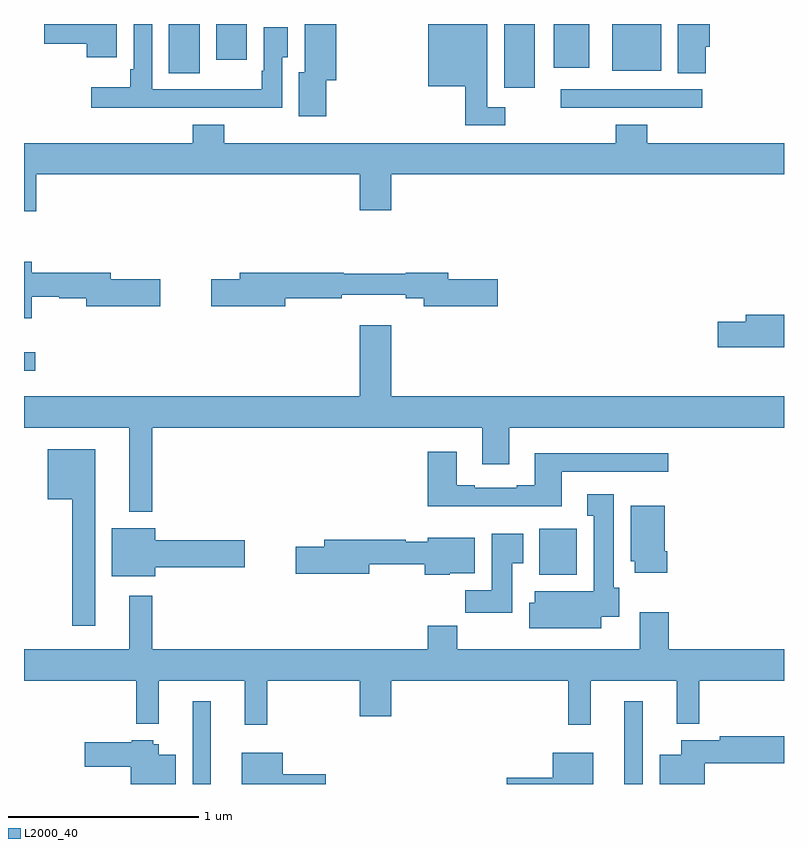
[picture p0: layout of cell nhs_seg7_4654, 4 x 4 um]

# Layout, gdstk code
import gdstk
lib = gdstk.Library(unit=1e-6, precision=1e-09)
def R(c, l, rs):  # rectangles x0, y0, x1, y1
    for r in rs: c.add(gdstk.rectangle(r[:2], r[2:], *l))
def P(c, l, *ps):  # polygons
    for p in ps: c.add(gdstk.Polygon(p, *l))
L2000_40 = (2000, 40)

nhs_seg7_4654 = lib.new_cell('nhs_seg7_4654')
R(nhs_seg7_4654, L2000_40, [(403.887,1072,403.984,1072.435), (406.16,1072,406.257,1072.435), (405.713,1073.102,405.91,1073.344), (403,1074.176,403.06,1074.273), (405.825,1075.56,406.57,1075.656), (405.527,1075.665,405.688,1076), (403.763,1075.741,403.924,1076), (406.097,1075.754,406.354,1076), (405.788,1075.769,405.976,1076), (404.012,1075.811,404.173,1076)])
P(nhs_seg7_4654, L2000_40, [(403.771,1075.56),(404.137,1075.56),(404.137,1075.559),(404.358,1075.559),(404.358,1075.825),(404.389,1075.825),(404.389,1075.984),(404.262,1075.984),(404.262,1075.753),(404.25,1075.753),(404.25,1075.657),(404.02,1075.657),(404.02,1075.656),(403.674,1075.656),(403.674,1076),(403.578,1076),(403.578,1075.762),(403.558,1075.762),(403.558,1075.666),(403.353,1075.666),(403.353,1075.559),(403.771,1075.559)],
  [(404.591,1075.703),(404.643,1075.703),(404.643,1076),(404.477,1076),(404.477,1075.747),(404.447,1075.747),(404.447,1075.515),(404.591,1075.515)],
  [(405.532,1075.563),(405.439,1075.563),(405.439,1075.913),(405.438,1075.913),(405.438,1076),(405.128,1076),(405.128,1075.673),(405.322,1075.673),(405.322,1075.467),(405.532,1075.467)],
  [(403.489,1076),(403.106,1076),(403.106,1075.895),(403.331,1075.895),(403.331,1075.824),(403.489,1075.824)],
  [(406.589,1075.881),(406.61,1075.881),(406.61,1076),(406.442,1076),(406.442,1075.741),(406.589,1075.741)],
  [(403.064,1075.208),(404.768,1075.208),(404.768,1075.02),(404.932,1075.02),(404.932,1075.208),(407,1075.208),(407,1075.372),(406.28,1075.372),(406.28,1075.471),(406.115,1075.471),(406.115,1075.372),(404.054,1075.372),(404.054,1075.471),(403.889,1075.471),(403.889,1075.372),(403,1075.372),(403,1075.014),(403.064,1075.014)],
  [(403.042,1074.564),(403.185,1074.564),(403.185,1074.556),(403.328,1074.556),(403.328,1074.514),(403.717,1074.514),(403.717,1074.656),(403.456,1074.656),(403.456,1074.692),(403.042,1074.692),(403.042,1074.748),(403,1074.748),(403,1074.452),(403.042,1074.452)],
  [(404.374,1074.556),(404.672,1074.556),(404.672,1074.575),(405.008,1074.575),(405.008,1074.556),(405.104,1074.556),(405.104,1074.514),(405.493,1074.514),(405.493,1074.656),(405.232,1074.656),(405.232,1074.692),(405.008,1074.692),(405.008,1074.685),(404.684,1074.685),(404.684,1074.692),(404.135,1074.692),(404.135,1074.656),(403.986,1074.656),(403.986,1074.514),(404.374,1074.514)],
  [(407,1074.47),(406.799,1074.47),(406.799,1074.434),(406.65,1074.434),(406.65,1074.299),(407,1074.299)],
  [(403.675,1073.876),(405.413,1073.876),(405.413,1073.682),(405.553,1073.682),(405.553,1073.876),(407,1073.876),(407,1074.04),(404.932,1074.04),(404.932,1074.415),(404.768,1074.415),(404.768,1074.04),(403,1074.04),(403,1073.876),(403.553,1073.876),(403.553,1073.432),(403.675,1073.432)],
  [(403.375,1073.761),(403.124,1073.761),(403.124,1073.498),(403.254,1073.498),(403.254,1072.833),(403.375,1072.833)],
  [(405.829,1073.643),(406.39,1073.643),(406.39,1073.74),(405.689,1073.74),(405.689,1073.572),(405.593,1073.572),(405.593,1073.559),(405.373,1073.559),(405.373,1073.572),(405.277,1073.572),(405.277,1073.749),(405.125,1073.749),(405.125,1073.462),(405.829,1073.462)],
  [(406.039,1072.88),(406.132,1072.88),(406.132,1073.034),(406.105,1073.034),(406.105,1073.524),(405.965,1073.524),(405.965,1073.411),(405.998,1073.411),(405.998,1073.014),(405.689,1073.014),(405.689,1072.955),(405.659,1072.955),(405.659,1072.82),(406.039,1072.82)],
  [(406.385,1073.224),(406.372,1073.224),(406.372,1073.464),(406.193,1073.464),(406.193,1073.172),(406.214,1073.172),(406.214,1073.112),(406.385,1073.112)],
  [(403.69,1073.14),(404.161,1073.14),(404.161,1073.282),(403.69,1073.282),(403.69,1073.347),(403.463,1073.347),(403.463,1073.093),(403.69,1073.093)],
  [(405.571,1073.161),(405.628,1073.161),(405.628,1073.317),(405.461,1073.317),(405.461,1073.02),(405.322,1073.02),(405.322,1072.902),(405.571,1072.902)],
  [(405.24,1073.108),(405.373,1073.108),(405.373,1073.296),(405.126,1073.296),(405.126,1073.274),(405.008,1073.274),(405.008,1073.285),(404.579,1073.285),(404.579,1073.249),(404.43,1073.249),(404.43,1073.107),(404.818,1073.107),(404.818,1073.157),(405.108,1073.157),(405.108,1073.102),(405.24,1073.102)],
  [(404.279,1072.544),(404.768,1072.544),(404.768,1072.356),(404.932,1072.356),(404.932,1072.544),(405.865,1072.544),(405.865,1072.311),(405.983,1072.311),(405.983,1072.544),(406.436,1072.544),(406.436,1072.316),(406.553,1072.316),(406.553,1072.544),(407,1072.544),(407,1072.708),(406.394,1072.708),(406.394,1072.903),(406.241,1072.903),(406.241,1072.708),(405.281,1072.708),(405.281,1072.832),(405.125,1072.832),(405.125,1072.708),(403.675,1072.708),(403.675,1072.99),(403.553,1072.99),(403.553,1072.708),(403,1072.708),(403,1072.544),(403.591,1072.544),(403.591,1072.316),(403.709,1072.316),(403.709,1072.544),(404.162,1072.544),(404.162,1072.311),(404.279,1072.311)],
  [(406.582,1072.109),(407,1072.109),(407,1072.251),(406.662,1072.251),(406.662,1072.231),(406.46,1072.231),(406.46,1072.153),(406.346,1072.153),(406.346,1072),(406.582,1072)],
  [(403.798,1072.153),(403.708,1072.153),(403.708,1072.209),(403.68,1072.209),(403.68,1072.231),(403.566,1072.231),(403.566,1072.221),(403.32,1072.221),(403.32,1072.091),(403.562,1072.091),(403.562,1072),(403.798,1072)],
  [(404.587,1072.052),(404.362,1072.052),(404.362,1072.165),(404.147,1072.165),(404.147,1072),(404.587,1072)],
  [(405.997,1072.165),(405.782,1072.165),(405.782,1072.034),(405.54,1072.034),(405.54,1072),(405.997,1072)])

lib.write_gds('nhs_seg7_4654.gds')
